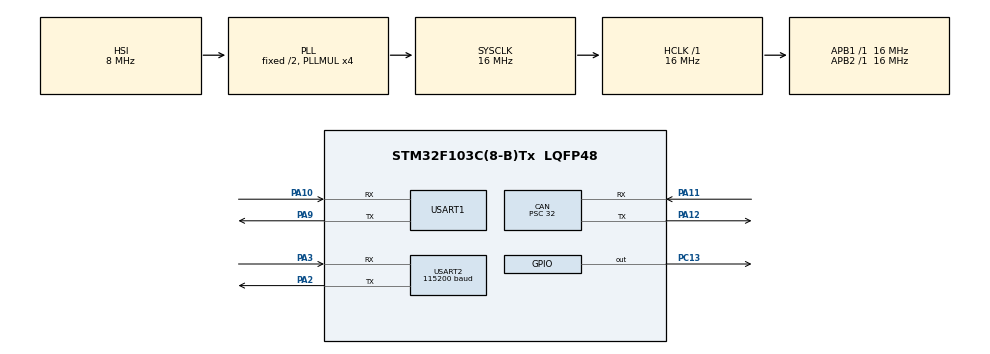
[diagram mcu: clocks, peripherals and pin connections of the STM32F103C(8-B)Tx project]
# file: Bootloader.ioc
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CAN.BS1=CAN_BS1_16TQ
CAN.BS2=CAN_BS2_8TQ
CAN.CalculateBaudRate=20000
CAN.CalculateTimeBit=50000
CAN.CalculateTimeQuantum=2000.0
CAN.NART=ENABLE
CAN.Prescaler=32
CAN.RFLM=ENABLE
Mcu.Family=STM32F1
Mcu.Name=STM32F103C(8-B)Tx
Mcu.Package=LQFP48
NVIC.CAN1_RX1_IRQn=true\:0\:0\:false\:false\:true\:true\:true\:true
NVIC.CAN1_SCE_IRQn=true\:0\:0\:false\:false\:true\:true\:true\:true
NVIC.PriorityGroup=NVIC_PRIORITYGROUP_4
NVIC.RCC_IRQn=true\:0\:0\:false\:false\:true\:true\:false\:true
NVIC.USB_HP_CAN1_TX_IRQn=true\:0\:0\:false\:false\:true\:true\:true\:true
NVIC.USB_LP_CAN1_RX0_IRQn=true\:0\:0\:false\:false\:true\:true\:true\:true
PA10.Mode=Asynchronous
PA10.Signal=USART1_RX
PA11.Mode=CAN_Activate
PA11.Signal=CAN_RX
PA12.Mode=CAN_Activate
PA12.Signal=CAN_TX
PA13.Mode=Serial_Wire
PA13.Signal=SYS_JTMS-SWDIO
PA14.Mode=Serial_Wire
PA14.Signal=SYS_JTCK-SWCLK
PA2.Mode=Asynchronous
PA2.Signal=USART2_TX
PA3.Mode=Asynchronous
PA3.Signal=USART2_RX
PA9.Mode=Asynchronous
PA9.Signal=USART1_TX
PC13-TAMPER-RTC.Signal=GPIO_Output
PD0-OSC_IN.Mode=HSE-External-Oscillator
PD0-OSC_IN.Signal=RCC_OSC_IN
PD1-OSC_OUT.Mode=HSE-External-Oscillator
PD1-OSC_OUT.Signal=RCC_OSC_OUT
ProjectManager.HeapSize=0x200
ProjectManager.StackSize=0x400
ProjectManager.TargetToolchain=STM32CubeIDE
RCC.AHBFreq_Value=16000000
RCC.APB1Freq_Value=16000000
RCC.APB1TimFreq_Value=16000000
RCC.APB2Freq_Value=16000000
RCC.APB2TimFreq_Value=16000000
RCC.HCLKFreq_Value=16000000
RCC.PLLMUL=RCC_PLL_MUL4
RCC.SYSCLKFreq_VALUE=16000000
RCC.SYSCLKSource=RCC_SYSCLKSOURCE_PLLCLK
RCC.USBFreq_Value=16000000
USART1.VirtualMode=VM_ASYNC
USART2.BaudRate=115200
USART2.VirtualMode=VM_ASYNC
VP_CRC_VS_CRC.Mode=CRC_Activate
board=custom

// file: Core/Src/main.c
/* USER CODE BEGIN Header */
/**
 ******************************************************************************
 * @file           : main.c
 * @brief          : Main program body
 ******************************************************************************
 * @attention
 *
 * Copyright (c) 2023 STMicroelectronics.
 * All rights reserved.
 *
 * This software is licensed under terms that can be found in the LICENSE file
 * in the root directory of this software component.
 * If no LICENSE file comes with this software, it is provided AS-IS.
 *
 ******************************************************************************
 */
/* USER CODE END Header */
#include "main.h"
#include "can.h"
#include "crc.h"
#include "usart.h"
#include "gpio.h"

/* USER CODE BEGIN Includes */
#include "Bootloader.h"
/* USER CODE END Includes */

/* USER CODE BEGIN PV */
uint8_t BL_FiFO0_Flag;

uint8_t CAN_ReceiveCounter0 = 0;
uint8_t CAN_ReceiveFlag0 = 0;
uint8_t CAN_ByteCounter0 = 0;
/* USER CODE END PV */

void SystemClock_Config(void);

/* USER CODE BEGIN 0 */
void HAL_CAN_RxFifo0MsgPendingCallback(CAN_HandleTypeDef *hcan)
{
	BL_FiFO0_Flag = 1;

	/* As CAN Receiver is in high noisy so it stuck in infinite Error ISR, As error is passive we disable Error interrupt so that CAN act normally
	 * As Slave receive Stream of data file by polling, we must deactivate notification to avoid any conflict wgen receiving
	 * Due to sending wrong noise frames(Due to noise when bus is idle) after sending correct data frames Slave becomes Error Passive(REC = 255), but when Master rsend data again REC decrement and the slave becomes Error Active again(In our case noise frames appears only to slave when no one is transmiting on the bus)
	 * */
	HAL_CAN_DeactivateNotification(hcan, CAN_IT_RX_FIFO0_MSG_PENDING |CAN_IT_ERROR |CAN_IT_LAST_ERROR_CODE);
}

void HAL_CAN_ErrorCallback(CAN_HandleTypeDef *hcan)
{
	CAN_ReceiveCounter0++;
	uint32_t Error_Code = hcan->ErrorCode; //To know the type of code you can make if condition on the definitions in CAN_Error_Code
}
/* USER CODE END 0 */

int main(void)
{

	/* MCU Configuration--------------------------------------------------------*/

	/* Reset of all peripherals, Initializes the Flash interface and the Systick. */
	HAL_Init();

	/* Configure the system clock */
	SystemClock_Config();

	/* Initialize all configured peripherals */
	MX_GPIO_Init();
	MX_CRC_Init();
	MX_USART1_UART_Init();
#if(BL_CAN == DISABLE)
	MX_USART2_UART_Init();
#else
	MX_CAN_Init();
#endif
	/* USER CODE BEGIN 2 */
#if(BL_CAN != DISABLE)
	while(HAL_CAN_Start(&hcan) != HAL_OK)
		MX_CAN_Init();
#endif
	/* USER CODE END 2 */

	/* Infinite loop */
	while (1)
	{

		/* USER CODE BEGIN 3 */
		BL_Fetch_Commend();
	}
	/* USER CODE END 3 */
}

void SystemClock_Config(void)
{
	RCC_OscInitTypeDef RCC_OscInitStruct = {0};
	RCC_ClkInitTypeDef RCC_ClkInitStruct = {0};

	/** Initializes the RCC Oscillators according to the specified parameters
	 * in the RCC_OscInitTypeDef structure.
	 */
	RCC_OscInitStruct.OscillatorType = RCC_OSCILLATORTYPE_HSI;
	RCC_OscInitStruct.HSIState = RCC_HSI_ON;
	RCC_OscInitStruct.HSICalibrationValue = RCC_HSICALIBRATION_DEFAULT;
	RCC_OscInitStruct.PLL.PLLState = RCC_PLL_ON;
	RCC_OscInitStruct.PLL.PLLSource = RCC_PLLSOURCE_HSI_DIV2;
	RCC_OscInitStruct.PLL.PLLMUL = RCC_PLL_MUL4;
	if (HAL_RCC_OscConfig(&RCC_OscInitStruct) != HAL_OK)
	{
		Error_Handler();
	}

	/** Initializes the CPU, AHB and APB buses clocks
	 */
	RCC_ClkInitStruct.ClockType = RCC_CLOCKTYPE_HCLK|RCC_CLOCKTYPE_SYSCLK
			|RCC_CLOCKTYPE_PCLK1|RCC_CLOCKTYPE_PCLK2;
	RCC_ClkInitStruct.SYSCLKSource = RCC_SYSCLKSOURCE_PLLCLK;
	RCC_ClkInitStruct.AHBCLKDivider = RCC_SYSCLK_DIV1;
	RCC_ClkInitStruct.APB1CLKDivider = RCC_HCLK_DIV1;
	RCC_ClkInitStruct.APB2CLKDivider = RCC_HCLK_DIV1;

	if (HAL_RCC_ClockConfig(&RCC_ClkInitStruct, FLASH_LATENCY_0) != HAL_OK)
	{
		Error_Handler();
	}
}

void Error_Handler(void)
{
	__disable_irq();
	while (1)
	{
	}
}
